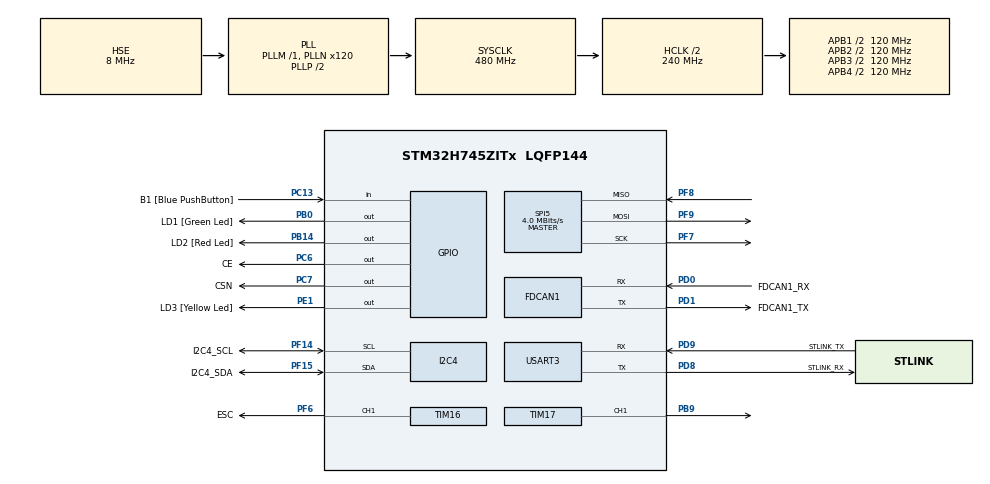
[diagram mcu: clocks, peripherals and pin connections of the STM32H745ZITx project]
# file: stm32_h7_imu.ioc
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CortexM4.IPs=BDMA,CORTEX_M4\:I,DEBUG,DMA,FATFS_M4\:I,FREERTOS_M4\:I,GPIO,IWDG2\:I,MDMA,NVIC2\:I,OPENAMP_M4\:I,PDM2PCM_M4\:I,PWR,RCC,RESMGR_UTILITY,SYS_M4\:I,USB_DEVICE_M4\:I,USB_HOST_M4\:I,VREFBUF,WWDG2\:I,USART3
CortexM4.Pins=PE1
CortexM7.IPs=BDMA\:I,CORTEX_M7\:I,DEBUG\:I,DMA\:I,FATFS_M7\:I,FREERTOS_M7\:I,GPIO\:I,IWDG1\:I,MDMA\:I,NVIC1\:I,OPENAMP_M7\:I,PDM2PCM_M7\:I,PWR\:I,RCC\:I,RESMGR_UTILITY\:I,SYS\:I,USB_DEVICE_M7\:I,USB_HOST_M7\:I,VREFBUF\:I,WWDG1\:I,USART3\:I,I2C4\:I,SPI5\:I,FDCAN1\:I,TIM16\:I,TIM17\:I
CortexM7.Pins=PC13,PB0,PB14,PC6,PC7
FDCAN1.CalculateBaudRateNominal=500000
FDCAN1.CalculateTimeBitNominal=2000
FDCAN1.CalculateTimeQuantumNominal=50.0
FDCAN1.NominalPrescaler=2
FDCAN1.NominalSyncJumpWidth=8
FDCAN1.NominalTimeSeg1=0x1F
FDCAN1.NominalTimeSeg2=8
FDCAN1.ProtocolException=ENABLE
FDCAN1.RxFifo0ElmtsNbr=1
FDCAN1.StdFiltersNbr=1
FDCAN1.TxFifoQueueElmtsNbr=1
I2C4.Timing=0x00404C74
Mcu.Family=STM32H7
Mcu.Name=STM32H745ZITx
Mcu.Package=LQFP144
NVIC1.PriorityGroup=NVIC_PRIORITYGROUP_4
NVIC2.PriorityGroup=NVIC_PRIORITYGROUP_4
PA13\ (JTMS/SWDIO).Mode=Serial_Wire
PA13\ (JTMS/SWDIO).PinAttribute=CortexM7
PA13\ (JTMS/SWDIO).Signal=DEBUG_JTMS-SWDIO
PA14\ (JTCK/SWCLK).Mode=Serial_Wire
PA14\ (JTCK/SWCLK).PinAttribute=CortexM7
PA14\ (JTCK/SWCLK).Signal=DEBUG_JTCK-SWCLK
PB0.GPIO_Label=LD1 [Green Led]
PB0.PinAttribute=CortexM7
PB0.Signal=GPIO_Output
PB14.GPIO_Label=LD2 [Red Led]
PB14.PinAttribute=CortexM7
PB14.Signal=GPIO_Output
PB9.PinAttribute=CortexM7
PB9.Signal=S_TIM17_CH1
PC13.GPIO_Label=B1 [Blue PushButton]
PC13.PinAttribute=CortexM7
PC13.Signal=GPIO_Input
PC14-OSC32_IN\ (OSC32_IN).Mode=LSE-External-Oscillator
PC14-OSC32_IN\ (OSC32_IN).PinAttribute=CortexM7
PC14-OSC32_IN\ (OSC32_IN).Signal=RCC_OSC32_IN
PC15-OSC32_OUT\ (OSC32_OUT).Mode=LSE-External-Oscillator
PC15-OSC32_OUT\ (OSC32_OUT).PinAttribute=CortexM7
PC15-OSC32_OUT\ (OSC32_OUT).Signal=RCC_OSC32_OUT
PC6.GPIO_Label=CE
PC6.PinAttribute=CortexM7
PC6.Signal=GPIO_Output
PC7.GPIO_Label=CSN
PC7.PinAttribute=CortexM7
PC7.Signal=GPIO_Output
PD0.GPIO_Label=FDCAN1_RX
PD0.GPIO_Speed=GPIO_SPEED_FREQ_VERY_HIGH
PD0.Mode=FDCAN_Activate
PD0.PinAttribute=CortexM7
PD0.Signal=FDCAN1_RX
PD1.GPIO_Label=FDCAN1_TX
PD1.GPIO_Mode=GPIO_MODE_AF_PP
PD1.GPIO_PuPd=GPIO_PULLUP
PD1.GPIO_Speed=GPIO_SPEED_FREQ_VERY_HIGH
PD1.Mode=FDCAN_Activate
PD1.PinAttribute=CortexM7
PD1.Signal=FDCAN1_TX
PD8.GPIO_Label=STLINK_RX
PD8.Mode=Asynchronous
PD8.PinAttribute=CortexM7
PD8.Signal=USART3_TX
PD9.GPIO_Label=STLINK_TX
PD9.Mode=Asynchronous
PD9.PinAttribute=CortexM7
PD9.Signal=USART3_RX
PE1.GPIO_Label=LD3 [Yellow Led]
PE1.PinAttribute=CortexM4
PE1.Signal=GPIO_Output
PF14.GPIO_Label=I2C4_SCL
PF14.Mode=I2C
PF14.PinAttribute=CortexM7
PF14.Signal=I2C4_SCL
PF15.GPIO_Label=I2C4_SDA
PF15.Mode=I2C
PF15.PinAttribute=CortexM7
PF15.Signal=I2C4_SDA
PF6.GPIO_Label=ESC
PF6.PinAttribute=CortexM7
PF6.Signal=S_TIM16_CH1
PF7.Mode=Full_Duplex_Master
PF7.PinAttribute=CortexM7
PF7.Signal=SPI5_SCK
PF8.Mode=Full_Duplex_Master
PF8.PinAttribute=CortexM7
PF8.Signal=SPI5_MISO
PF9.Mode=Full_Duplex_Master
PF9.PinAttribute=CortexM7
PF9.Signal=SPI5_MOSI
PH0-OSC_IN\ (PH0).Mode=HSE-External-Clock-Source
PH0-OSC_IN\ (PH0).PinAttribute=CortexM7
PH0-OSC_IN\ (PH0).Signal=RCC_OSC_IN
ProjectManager.HeapSize=M4-0x200,M7-0x200
ProjectManager.StackSize=M4-0x400,M7-0x400
ProjectManager.TargetToolchain=STM32CubeIDE
RCC.ADCFreq_Value=80000000
RCC.APB1Freq_Value=120000000
RCC.APB2Freq_Value=120000000
RCC.APB3Freq_Value=120000000
RCC.APB4Freq_Value=120000000
RCC.CortexFreq_Value=480000000
RCC.D1PPRE=RCC_APB3_DIV2
RCC.D2PPRE1=RCC_APB1_DIV2
RCC.D2PPRE2=RCC_APB2_DIV2
RCC.D3PPRE=RCC_APB4_DIV2
RCC.DIVM1=1
RCC.DIVM2=4
RCC.DIVM3=4
RCC.DIVN1=120
RCC.DIVN2=80
RCC.DIVN3=120
RCC.DIVQ2=4
RCC.DIVR3=12
RCC.FDCANCLockSelection=RCC_FDCANCLKSOURCE_PLL2
RCC.HCLKFreq_Value=240000000
RCC.HPRE=RCC_HCLK_DIV2
RCC.HSE_VALUE=8000000
RCC.I2C4CLockSelection=RCC_I2C4CLKSOURCE_PLL3
RCC.PLLSourceVirtual=RCC_PLLSOURCE_HSE
RCC.SYSCLKFreq_VALUE=480000000
RCC.SYSCLKSource=RCC_SYSCLKSOURCE_PLLCLK
RCC.Spi45ClockSelection=RCC_SPI45CLKSOURCE_HSI
RCC.USBFreq_Value=480000000
SH.S_TIM16_CH1.0=TIM16_CH1,PWM Generation1 CH1
SH.S_TIM17_CH1.0=TIM17_CH1,PWM Generation1 CH1
SPI5.BaudRatePrescaler=SPI_BAUDRATEPRESCALER_16
SPI5.CalculateBaudRate=4.0 MBits/s
SPI5.DataSize=SPI_DATASIZE_8BIT
SPI5.Direction=SPI_DIRECTION_2LINES
SPI5.Mode=SPI_MODE_MASTER
SPI5.VirtualType=VM_MASTER
SYS.userName=SYS_M7
TIM16.Channel=TIM_CHANNEL_1
TIM16.Period=19999
TIM16.Prescaler=239
TIM16.Pulse=1500
TIM17.Channel=TIM_CHANNEL_1
TIM17.Period=63999
TIM17.Prescaler=74
USART3.VirtualMode-Asynchronous=VM_ASYNC
VP_SYS_M4_VS_Systick.Mode=SysTick
VP_TIM16_VS_ClockSourceINT.Mode=Enable_Timer
VP_TIM17_VS_ClockSourceINT.Mode=Enable_Timer
board=custom

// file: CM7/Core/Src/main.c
/* USER CODE BEGIN Header */
/**
  ******************************************************************************
  * @file           : main.c
  * @brief          : Main program body
  ******************************************************************************
  * @attention
  *
  * Copyright (c) 2024 STMicroelectronics.
  * All rights reserved.
  *
  * This software is licensed under terms that can be found in the LICENSE file
  * in the root directory of this software component.
  * If no LICENSE file comes with this software, it is provided AS-IS.
  *
  ******************************************************************************
  */
/* USER CODE END Header */
#include "main.h"

/* USER CODE BEGIN Includes */
#include <stdbool.h>
#include "myprintf.h"
#include "MY_NRF24.h"
#include "mpu6050.h"
#include <stdio.h>
/* USER CODE END Includes */

/* USER CODE BEGIN PD */
#ifndef HSEM_ID_0
#define HSEM_ID_0 (0U) /* HW semaphore 0*/
#endif
/* USER CODE END PD */

FDCAN_HandleTypeDef hfdcan1;
I2C_HandleTypeDef hi2c4;
SPI_HandleTypeDef hspi5;
TIM_HandleTypeDef htim16;
TIM_HandleTypeDef htim17;
UART_HandleTypeDef huart3;

/* USER CODE BEGIN PV */
FDCAN_FilterTypeDef sFilterConfig;
FDCAN_TxHeaderTypeDef TxHeader;
FDCAN_RxHeaderTypeDef RxHeader;
//uint8_t TxData[8] = {0x10, 0x34, 0x54, 0x76, 0x98, 0x00, 0x11, 0x22};
uint8_t RxData[8];
uint16_t coordY;
uint16_t coordX;
uint8_t Vuel = 0;
float vueltas = 0.0f;
bool direccion = false;

/* USER CODE END PV */

/*Variable definitions for NRF*/
uint64_t RxpipeAddrs = 0x11223344AALL;
char myRxData[50];
uint8_t buffer[6];
char myAckPayload[32] = "Ack by STMF7!";

void SystemClock_Config(void);
static void MX_GPIO_Init(void);
static void MX_USART3_UART_Init(void);
static void MX_I2C4_Init(void);
static void MX_SPI5_Init(void);
static void MX_FDCAN1_Init(void);
static void MX_TIM16_Init(void);
static void MX_TIM17_Init(void);
static void Turning_SetAngle(float);
static void readNRF(void);
static void moveForward(void);
static void turnTractor(void);
static void ProcessCANMessage(void);
static void SendCANMessage(uint8_t state);

/* USER CODE BEGIN 0 */
void readNRF(void) {
	if(NRF24_available()) {
		NRF24_read(buffer, 6);
	    if(buffer[0] == 0xFF && buffer[1] == 0xFF) {
	    	snprintf(myRxData, 32, "Coordinates not found\r\n");
	    }
	    else {
	    	snprintf(myRxData, 32, "%u %u %u \r\n", (buffer[0]<<8|buffer[1]), (buffer[2]<<8|buffer[3]), (buffer[4]<<8|buffer[5]));

	    	coordY = (buffer[2]<<8|buffer[3]);
	    	coordX = (buffer[0]<<8|buffer[1]);
	    }
	    NRF24_writeAckPayload(1, myAckPayload, 32);
	    HAL_UART_Transmit(&huart3, (uint8_t *)myRxData, strlen(myRxData), 10);
	}
}

void moveForward( void ){
    __HAL_TIM_SET_COMPARE(&htim16, TIM_CHANNEL_1, 1750);
    HAL_Delay(100); // Pausa tras el movimiento
    __HAL_TIM_SET_COMPARE(&htim16, TIM_CHANNEL_1, 1500);
    HAL_Delay(100);
    readNRF();
}

void turnTractor( void ){
    __HAL_TIM_SET_COMPARE(&htim16, TIM_CHANNEL_1, 2000);
    HAL_Delay(200); // Pausa tras el movimiento
    __HAL_TIM_SET_COMPARE(&htim16, TIM_CHANNEL_1, 1500);
    HAL_Delay(200);
    readNRF();
}

/**
 * @brief Procesa los mensajes recibidos por el protocolo CAN
 */
void ProcessCANMessage() {
    if (HAL_FDCAN_GetRxMessage(&hfdcan1, FDCAN_RX_FIFO0, &RxHeader, RxData) == HAL_OK) {
        printf("\n\rSTM32 - Mensaje CAN recibido:\n\r");
        printf("ID: 0x%lx, Longitud: %ld bytes\n\r", RxHeader.Identifier, RxHeader.DataLength >> 16);
        printf("Datos: ");

        if (RxHeader.Identifier == 0x100) {
            printf("\n\rMensaje recibido de Arduino: ");
        }
        for (uint8_t i = 0; i < 8; i++) {
            printf("%02X ", RxData[i]);
        }

        // Interpretar las vueltas como un float
		union {
			float valueFloat;
			uint8_t valueInt[4];
		} conversion;

		conversion.valueInt[0] = RxData[0];
		conversion.valueInt[1] = RxData[1];
		conversion.valueInt[2] = RxData[2];
		conversion.valueInt[3] = RxData[3];

		vueltas = conversion.valueFloat;

        printf("\n\rSTM32 - Mensaje recibido correctamente.\n\r");

        HAL_GPIO_TogglePin(LD1_GPIO_Port, LD1_Pin); // Indicar recepción
        printf("Vueltas: %.4f\n\r", vueltas);
    } else {
        //printf("Esperando mensajes CAN...\n\r");
    }
}

/* USER CODE END 0 */

int main(void)
{
/* USER CODE BEGIN Boot_Mode_Sequence_0 */
  int32_t timeout;
/* USER CODE END Boot_Mode_Sequence_0 */

/* USER CODE BEGIN Boot_Mode_Sequence_1 */
  /* Wait until CPU2 boots and enters in stop mode or timeout*/
  timeout = 0xFFFF;
  while((__HAL_RCC_GET_FLAG(RCC_FLAG_D2CKRDY) != RESET) && (timeout-- > 0));
  if ( timeout < 0 )
  {
  Error_Handler();
  }
/* USER CODE END Boot_Mode_Sequence_1 */
  /* MCU Configuration--------------------------------------------------------*/

  /* Reset of all peripherals, Initializes the Flash interface and the Systick. */
  HAL_Init();

  /* Configure the system clock */
  SystemClock_Config();
	/* USER CODE BEGIN Boot_Mode_Sequence_2 */
	/* When system initialization is finished, Cortex-M7 will release Cortex-M4 by means of
	HSEM notification */
	/*HW semaphore Clock enable*/
	__HAL_RCC_HSEM_CLK_ENABLE();
	/*Take HSEM */
	HAL_HSEM_FastTake(HSEM_ID_0);
	/*Release HSEM in order to notify the CPU2(CM4)*/
	HAL_HSEM_Release(HSEM_ID_0,0);
	/* wait until CPU2 wakes up from stop mode */
	timeout = 0xFFFF;
	while((__HAL_RCC_GET_FLAG(RCC_FLAG_D2CKRDY) == RESET) && (timeout-- > 0));
	if ( timeout < 0 )
	{
	Error_Handler();
	}
/* USER CODE END Boot_Mode_Sequence_2 */

	  /* Initialize all configured peripherals */
	  MX_GPIO_Init();
	  MX_USART3_UART_Init();
	  MX_I2C4_Init();
	  MX_SPI5_Init();
	  MX_FDCAN1_Init();
	  MX_TIM16_Init();
	  MX_TIM17_Init();
	  /* USER CODE BEGIN 2 */

		NRF24_begin(GPIOC, CSN_Pin, CE_Pin, hspi5);
		nrf24_DebugUART_Init(huart3);

		NRF24_openReadingPipe(1, RxpipeAddrs);
		NRF24_setAutoAck(false);
		NRF24_setChannel(52);
		NRF24_setPayloadSize(32);
		NRF24_setDataRate(RF24_2MBPS);

		NRF24_enableDynamicPayloads();
		NRF24_enableAckPayload();
		printRadioSettings();
		NRF24_startListening();
		printf("Starting NRF24\r\n");
		HAL_Delay(1000);

	  /* USER CODE END 2 */

	  /* Infinite loop */
	  /* USER CODE BEGIN WHILE */

	  /* Configuración inicial del motor */
	  HAL_TIM_PWM_Start(&htim17, TIM_CHANNEL_1);
	  HAL_TIM_PWM_Start(&htim16, TIM_CHANNEL_1);

	  __HAL_TIM_SET_COMPARE(&htim16, TIM_CHANNEL_1, 1500);  // Posición inicial
	  Turning_SetAngle(-62);	//Angulo Inicial
	  HAL_Delay(1000);

  	  //readNRF();
  	  int waypoint = 0;
  	  int flagDone = 0;

  	while (1) {

  		ProcessCANMessage();

  	    // Mover a la siguiente posición en función de las coordenadas
  	    if (coordX < 50 && coordY < 50 && waypoint == 0) {
  	        moveForward();  // Mover adelante
  	    }
  	    else if (coordX < 50 && coordY > 50 && waypoint == 0){
  	    	HAL_GPIO_WritePin(GPIOB, GPIO_PIN_14, GPIO_PIN_SET);
  	    	HAL_Delay(500);
  	    	HAL_GPIO_WritePin(GPIOB, GPIO_PIN_14, GPIO_PIN_RESET);
  	    	__HAL_TIM_SET_COMPARE(&htim16, TIM_CHANNEL_1, 1500);
  	    	Turning_SetAngle(5);
  	    	HAL_Delay(1000);
  	    	waypoint = 1;

  	    	__HAL_TIM_SET_COMPARE(&htim16, TIM_CHANNEL_1, 1900);
  	    	HAL_Delay(500);
  	    	readNRF();
  	    }
  	    else if (coordX < 85 && coordY > 65 && waypoint == 1){
  	    	__HAL_TIM_SET_COMPARE(&htim16, TIM_CHANNEL_1, 1900);
  	    	HAL_Delay(1000);
  	        __HAL_TIM_SET_COMPARE(&htim16, TIM_CHANNEL_1, 1500);
  	      	HAL_Delay(500);
  	    	readNRF();
  	    }
  	    else if(coordX > 85 && coordY > 65 && waypoint == 1){
  	    	HAL_GPIO_WritePin(GPIOB, GPIO_PIN_14, GPIO_PIN_SET);
  	    	HAL_Delay(500);
  	    	HAL_GPIO_WritePin(GPIOB, GPIO_PIN_14, GPIO_PIN_RESET);
  	    	__HAL_TIM_SET_COMPARE(&htim16, TIM_CHANNEL_1, 1500);
  	    	Turning_SetAngle(-62);
  	    	HAL_Delay(1000);
  	    	waypoint = 2;
  	    }
  	    else {
  	    	if (coordY > 50){
  	    		moveForward();
  	    	}
  	    	else{
  	    		if (!flagDone){
  	  	  	    	HAL_GPIO_WritePin(GPIOB, GPIO_PIN_14, GPIO_PIN_SET);
  	  	  	    	HAL_Delay(500);
  	  	  	    	HAL_GPIO_WritePin(GPIOB, GPIO_PIN_14, GPIO_PIN_RESET);
  	  	  	    	__HAL_TIM_SET_COMPARE(&htim16, TIM_CHANNEL_1, 1500);
  	  	  	    	flagDone = true;
  	    		}
  	    		else{
  	    			__HAL_TIM_SET_COMPARE(&htim16, TIM_CHANNEL_1, 1500);
  	    		}
  	    	}
  	    }

  	    /*
  	    else if (coordY > 20 && waypoint == 2) {
  	    	moveForward();
  	    }
  	    else{
  	    	__HAL_TIM_SET_COMPARE(&htim16, TIM_CHANNEL_1, 1500);
  	    	HAL_Delay(1000);
  	    	waypoint = 3;
  	    }
  	    */
  	    /*
  	    else if (waypoint == 0) {
  	        __HAL_TIM_SET_COMPARE(&htim16, TIM_CHANNEL_1, 1500);  // Detener el movimiento
  	        HAL_Delay(2000);  // Pausa tras el movimiento
  	        Turning_SetAngle(0);  // Ajustar ángulo
  	        waypoint = 1;  // Cambiar waypoint
  	    }
  	    else if (coordY > 50 && waypoint == 1) {
  	        turnTractor();  // Girar el tractor
  	        waypoint = 2;  // Cambiar waypoint
  	    }
  	    else if (coordY > 30 && waypoint == 2) {
  	        moveForward();  // Continuar hacia adelante
  	    }
  	    else {
  	        __HAL_TIM_SET_COMPARE(&htim16, TIM_CHANNEL_1, 1500);  // Detener el movimiento
  	        HAL_Delay(2000);  // Pausa tras el movimiento
  	    }
  	    */
  	}

    /* USER CODE END WHILE */
	//  }
}

void SystemClock_Config(void)
{
  RCC_OscInitTypeDef RCC_OscInitStruct = {0};
  RCC_ClkInitTypeDef RCC_ClkInitStruct = {0};

  /** Supply configuration update enable
  */
  HAL_PWREx_ConfigSupply(PWR_DIRECT_SMPS_SUPPLY);

  /** Configure the main internal regulator output voltage
  */
  __HAL_PWR_VOLTAGESCALING_CONFIG(PWR_REGULATOR_VOLTAGE_SCALE0);

  while(!__HAL_PWR_GET_FLAG(PWR_FLAG_VOSRDY)) {}

  /** Macro to configure the PLL clock source
  */
  __HAL_RCC_PLL_PLLSOURCE_CONFIG(RCC_PLLSOURCE_HSE);

  /** Initializes the RCC Oscillators according to the specified parameters
  * in the RCC_OscInitTypeDef structure.
  */
  RCC_OscInitStruct.OscillatorType = RCC_OSCILLATORTYPE_HSI|RCC_OSCILLATORTYPE_HSE;
  RCC_OscInitStruct.HSEState = RCC_HSE_BYPASS;
  RCC_OscInitStruct.HSIState = RCC_HSI_DIV1;
  RCC_OscInitStruct.HSICalibrationValue = RCC_HSICALIBRATION_DEFAULT;
  RCC_OscInitStruct.PLL.PLLState = RCC_PLL_ON;
  RCC_OscInitStruct.PLL.PLLSource = RCC_PLLSOURCE_HSE;
  RCC_OscInitStruct.PLL.PLLM = 1;
  RCC_OscInitStruct.PLL.PLLN = 120;
  RCC_OscInitStruct.PLL.PLLP = 2;
  RCC_OscInitStruct.PLL.PLLQ = 2;
  RCC_OscInitStruct.PLL.PLLR = 2;
  RCC_OscInitStruct.PLL.PLLRGE = RCC_PLL1VCIRANGE_3;
  RCC_OscInitStruct.PLL.PLLVCOSEL = RCC_PLL1VCOWIDE;
  RCC_OscInitStruct.PLL.PLLFRACN = 0;
  if (HAL_RCC_OscConfig(&RCC_OscInitStruct) != HAL_OK)
  {
    Error_Handler();
  }

  /** Initializes the CPU, AHB and APB buses clocks
  */
  RCC_ClkInitStruct.ClockType = RCC_CLOCKTYPE_HCLK|RCC_CLOCKTYPE_SYSCLK
                              |RCC_CLOCKTYPE_PCLK1|RCC_CLOCKTYPE_PCLK2
                              |RCC_CLOCKTYPE_D3PCLK1|RCC_CLOCKTYPE_D1PCLK1;
  RCC_ClkInitStruct.SYSCLKSource = RCC_SYSCLKSOURCE_PLLCLK;
  RCC_ClkInitStruct.SYSCLKDivider = RCC_SYSCLK_DIV1;
  RCC_ClkInitStruct.AHBCLKDivider = RCC_HCLK_DIV2;
  RCC_ClkInitStruct.APB3CLKDivider = RCC_APB3_DIV2;
  RCC_ClkInitStruct.APB1CLKDivider = RCC_APB1_DIV2;
  RCC_ClkInitStruct.APB2CLKDivider = RCC_APB2_DIV2;
  RCC_ClkInitStruct.APB4CLKDivider = RCC_APB4_DIV2;

  if (HAL_RCC_ClockConfig(&RCC_ClkInitStruct, FLASH_LATENCY_4) != HAL_OK)
  {
    Error_Handler();
  }
}

static void MX_FDCAN1_Init(void)
{

  hfdcan1.Instance = FDCAN1;
  hfdcan1.Init.FrameFormat = FDCAN_FRAME_CLASSIC;
  hfdcan1.Init.Mode = FDCAN_MODE_NORMAL;
  hfdcan1.Init.AutoRetransmission = DISABLE;
  hfdcan1.Init.TransmitPause = DISABLE;
  hfdcan1.Init.ProtocolException = ENABLE;
  hfdcan1.Init.NominalPrescaler = 2;
  hfdcan1.Init.NominalSyncJumpWidth = 8;
  hfdcan1.Init.NominalTimeSeg1 = 0x1F;
  hfdcan1.Init.NominalTimeSeg2 = 8;
  hfdcan1.Init.DataPrescaler = 1;
  hfdcan1.Init.DataSyncJumpWidth = 1;
  hfdcan1.Init.DataTimeSeg1 = 1;
  hfdcan1.Init.DataTimeSeg2 = 1;
  hfdcan1.Init.MessageRAMOffset = 0;
  hfdcan1.Init.StdFiltersNbr = 1;
  hfdcan1.Init.ExtFiltersNbr = 0;
  hfdcan1.Init.RxFifo0ElmtsNbr = 1;
  hfdcan1.Init.RxFifo0ElmtSize = FDCAN_DATA_BYTES_8;
  hfdcan1.Init.RxFifo1ElmtsNbr = 0;
  hfdcan1.Init.RxFifo1ElmtSize = FDCAN_DATA_BYTES_8;
  hfdcan1.Init.RxBuffersNbr = 0;
  hfdcan1.Init.RxBufferSize = FDCAN_DATA_BYTES_8;
  hfdcan1.Init.TxEventsNbr = 0;
  hfdcan1.Init.TxBuffersNbr = 0;
  hfdcan1.Init.TxFifoQueueElmtsNbr = 1;
  hfdcan1.Init.TxFifoQueueMode = FDCAN_TX_FIFO_OPERATION;
  hfdcan1.Init.TxElmtSize = FDCAN_DATA_BYTES_8;
  if (HAL_FDCAN_Init(&hfdcan1) != HAL_OK)
  {
    Error_Handler();
  }
  /* USER CODE BEGIN FDCAN1_Init 2 */
  /*AAO+*/
      /* Configure Rx filter */
       sFilterConfig.IdType = FDCAN_STANDARD_ID;
       sFilterConfig.FilterIndex = 0;
       sFilterConfig.FilterType = FDCAN_FILTER_MASK;
       sFilterConfig.FilterConfig = FDCAN_FILTER_TO_RXFIFO0;
       sFilterConfig.FilterID1 = 0x000;
       sFilterConfig.FilterID2 = 0x000;

       /* Configure global filter to reject all non-matching frames */
       HAL_FDCAN_ConfigGlobalFilter(&hfdcan1, FDCAN_REJECT, FDCAN_REJECT, FDCAN_REJECT_REMOTE, FDCAN_REJECT_REMOTE);

       if (HAL_FDCAN_ConfigFilter(&hfdcan1, &sFilterConfig) != HAL_OK)
         {
            /* Filter configuration Error */
            Error_Handler();
         }
        /* Start the FDCAN module */
       if (HAL_FDCAN_Start(&hfdcan1) != HAL_OK) {
         }
            /* Start Error */
       if (HAL_FDCAN_ActivateNotification(&hfdcan1, FDCAN_IT_RX_FIFO0_NEW_MESSAGE, 0) != HAL_OK) {
         }
            /* Notification Error */

        /* Configure Tx buffer message */
       TxHeader.Identifier = 0x111;
       TxHeader.IdType = FDCAN_STANDARD_ID;
       TxHeader.TxFrameType = FDCAN_DATA_FRAME;
       TxHeader.DataLength = FDCAN_DLC_BYTES_12;
       TxHeader.ErrorStateIndicator = FDCAN_ESI_ACTIVE;
       TxHeader.BitRateSwitch = FDCAN_BRS_ON;
       TxHeader.FDFormat = FDCAN_FD_CAN;
       TxHeader.TxEventFifoControl = FDCAN_NO_TX_EVENTS;
       TxHeader.MessageMarker = 0x00;
      /*AAO-*/
  /* USER CODE END FDCAN1_Init 2 */

}

static void MX_I2C4_Init(void)
{

  hi2c4.Instance = I2C4;
  hi2c4.Init.Timing = 0x00404C74;
  hi2c4.Init.OwnAddress1 = 0;
  hi2c4.Init.AddressingMode = I2C_ADDRESSINGMODE_7BIT;
  hi2c4.Init.DualAddressMode = I2C_DUALADDRESS_DISABLE;
  hi2c4.Init.OwnAddress2 = 0;
  hi2c4.Init.OwnAddress2Masks = I2C_OA2_NOMASK;
  hi2c4.Init.GeneralCallMode = I2C_GENERALCALL_DISABLE;
  hi2c4.Init.NoStretchMode = I2C_NOSTRETCH_DISABLE;
  if (HAL_I2C_Init(&hi2c4) != HAL_OK)
  {
    Error_Handler();
  }

  /** Configure Analogue filter
  */
  if (HAL_I2CEx_ConfigAnalogFilter(&hi2c4, I2C_ANALOGFILTER_ENABLE) != HAL_OK)
  {
    Error_Handler();
  }

  /** Configure Digital filter
  */
  if (HAL_I2CEx_ConfigDigitalFilter(&hi2c4, 0) != HAL_OK)
  {
    Error_Handler();
  }

}

static void MX_SPI5_Init(void)
{

  /* SPI5 parameter configuration*/
  hspi5.Instance = SPI5;
  hspi5.Init.Mode = SPI_MODE_MASTER;
  hspi5.Init.Direction = SPI_DIRECTION_2LINES;
  hspi5.Init.DataSize = SPI_DATASIZE_8BIT;
  hspi5.Init.CLKPolarity = SPI_POLARITY_LOW;
  hspi5.Init.CLKPhase = SPI_PHASE_1EDGE;
  hspi5.Init.NSS = SPI_NSS_SOFT;
  hspi5.Init.BaudRatePrescaler = SPI_BAUDRATEPRESCALER_16;
  hspi5.Init.FirstBit = SPI_FIRSTBIT_MSB;
  hspi5.Init.TIMode = SPI_TIMODE_DISABLE;
  hspi5.Init.CRCCalculation = SPI_CRCCALCULATION_DISABLE;
  hspi5.Init.CRCPolynomial = 0x0;
  hspi5.Init.NSSPMode = SPI_NSS_PULSE_ENABLE;
  hspi5.Init.NSSPolarity = SPI_NSS_POLARITY_LOW;
  hspi5.Init.FifoThreshold = SPI_FIFO_THRESHOLD_01DATA;
  hspi5.Init.TxCRCInitializationPattern = SPI_CRC_INITIALIZATION_ALL_ZERO_PATTERN;
  hspi5.Init.RxCRCInitializationPattern = SPI_CRC_INITIALIZATION_ALL_ZERO_PATTERN;
  hspi5.Init.MasterSSIdleness = SPI_MASTER_SS_IDLENESS_00CYCLE;
  hspi5.Init.MasterInterDataIdleness = SPI_MASTER_INTERDATA_IDLENESS_00CYCLE;
  hspi5.Init.MasterReceiverAutoSusp = SPI_MASTER_RX_AUTOSUSP_DISABLE;
  hspi5.Init.MasterKeepIOState = SPI_MASTER_KEEP_IO_STATE_DISABLE;
  hspi5.Init.IOSwap = SPI_IO_SWAP_DISABLE;
  if (HAL_SPI_Init(&hspi5) != HAL_OK)
  {
    Error_Handler();
  }

}

static void MX_TIM16_Init(void)
{

  TIM_OC_InitTypeDef sConfigOC = {0};
  TIM_BreakDeadTimeConfigTypeDef sBreakDeadTimeConfig = {0};

  htim16.Instance = TIM16;
  htim16.Init.Prescaler = 239;
  htim16.Init.CounterMode = TIM_COUNTERMODE_UP;
  htim16.Init.Period = 19999;
  htim16.Init.ClockDivision = TIM_CLOCKDIVISION_DIV1;
  htim16.Init.RepetitionCounter = 0;
  htim16.Init.AutoReloadPreload = TIM_AUTORELOAD_PRELOAD_DISABLE;
  if (HAL_TIM_Base_Init(&htim16) != HAL_OK)
  {
    Error_Handler();
  }
  if (HAL_TIM_PWM_Init(&htim16) != HAL_OK)
  {
    Error_Handler();
  }
  sConfigOC.OCMode = TIM_OCMODE_PWM1;
  sConfigOC.Pulse = 1500;
  sConfigOC.OCPolarity = TIM_OCPOLARITY_HIGH;
  sConfigOC.OCNPolarity = TIM_OCNPOLARITY_HIGH;
  sConfigOC.OCFastMode = TIM_OCFAST_DISABLE;
  sConfigOC.OCIdleState = TIM_OCIDLESTATE_RESET;
  sConfigOC.OCNIdleState = TIM_OCNIDLESTATE_RESET;
  if (HAL_TIM_PWM_ConfigChannel(&htim16, &sConfigOC, TIM_CHANNEL_1) != HAL_OK)
  {
    Error_Handler();
  }
  sBreakDeadTimeConfig.OffStateRunMode = TIM_OSSR_DISABLE;
  sBreakDeadTimeConfig.OffStateIDLEMode = TIM_OSSI_DISABLE;
  sBreakDeadTimeConfig.LockLevel = TIM_LOCKLEVEL_OFF;
  sBreakDeadTimeConfig.DeadTime = 0;
  sBreakDeadTimeConfig.BreakState = TIM_BREAK_DISABLE;
  sBreakDeadTimeConfig.BreakPolarity = TIM_BREAKPOLARITY_HIGH;
  sBreakDeadTimeConfig.BreakFilter = 0;
  sBreakDeadTimeConfig.AutomaticOutput = TIM_AUTOMATICOUTPUT_DISABLE;
  if (HAL_TIMEx_ConfigBreakDeadTime(&htim16, &sBreakDeadTimeConfig) != HAL_OK)
  {
    Error_Handler();
  }
  HAL_TIM_MspPostInit(&htim16);

}

static void MX_TIM17_Init(void)
{

  TIM_OC_InitTypeDef sConfigOC = {0};
  TIM_BreakDeadTimeConfigTypeDef sBreakDeadTimeConfig = {0};

  htim17.Instance = TIM17;
  htim17.Init.Prescaler = 74;
  htim17.Init.CounterMode = TIM_COUNTERMODE_UP;
  htim17.Init.Period = 63999;
  htim17.Init.ClockDivision = TIM_CLOCKDIVISION_DIV1;
  htim17.Init.RepetitionCounter = 0;
  htim17.Init.AutoReloadPreload = TIM_AUTORELOAD_PRELOAD_DISABLE;
  if (HAL_TIM_Base_Init(&htim17) != HAL_OK)
  {
    Error_Handler();
  }
  if (HAL_TIM_PWM_Init(&htim17) != HAL_OK)
  {
    Error_Handler();
  }
  sConfigOC.OCMode = TIM_OCMODE_PWM1;
  sConfigOC.Pulse = 0;
  sConfigOC.OCPolarity = TIM_OCPOLARITY_HIGH;
  sConfigOC.OCNPolarity = TIM_OCNPOLARITY_HIGH;
  sConfigOC.OCFastMode = TIM_OCFAST_DISABLE;
  sConfigOC.OCIdleState = TIM_OCIDLESTATE_RESET;
  sConfigOC.OCNIdleState = TIM_OCNIDLESTATE_RESET;
  if (HAL_TIM_PWM_ConfigChannel(&htim17, &sConfigOC, TIM_CHANNEL_1) != HAL_OK)
  {
    Error_Handler();
  }
  sBreakDeadTimeConfig.OffStateRunMode = TIM_OSSR_DISABLE;
  sBreakDeadTimeConfig.OffStateIDLEMode = TIM_OSSI_DISABLE;
  sBreakDeadTimeConfig.LockLevel = TIM_LOCKLEVEL_OFF;
  sBreakDeadTimeConfig.DeadTime = 0;
  sBreakDeadTimeConfig.BreakState = TIM_BREAK_DISABLE;
  sBreakDeadTimeConfig.BreakPolarity = TIM_BREAKPOLARITY_HIGH;
  sBreakDeadTimeConfig.BreakFilter = 0;
  sBreakDeadTimeConfig.AutomaticOutput = TIM_AUTOMATICOUTPUT_DISABLE;
  if (HAL_TIMEx_ConfigBreakDeadTime(&htim17, &sBreakDeadTimeConfig) != HAL_OK)
  {
    Error_Handler();
  }
  HAL_TIM_MspPostInit(&htim17);

}

static void MX_USART3_UART_Init(void)
{

  huart3.Instance = USART3;
  huart3.Init.BaudRate = 115200;
  huart3.Init.WordLength = UART_WORDLENGTH_8B;
  huart3.Init.StopBits = UART_STOPBITS_1;
  huart3.Init.Parity = UART_PARITY_NONE;
  huart3.Init.Mode = UART_MODE_TX_RX;
  huart3.Init.HwFlowCtl = UART_HWCONTROL_NONE;
  huart3.Init.OverSampling = UART_OVERSAMPLING_16;
  huart3.Init.OneBitSampling = UART_ONE_BIT_SAMPLE_DISABLE;
  huart3.Init.ClockPrescaler = UART_PRESCALER_DIV1;
  huart3.AdvancedInit.AdvFeatureInit = UART_ADVFEATURE_NO_INIT;
  if (HAL_UART_Init(&huart3) != HAL_OK)
  {
    Error_Handler();
  }
  if (HAL_UARTEx_SetTxFifoThreshold(&huart3, UART_TXFIFO_THRESHOLD_1_8) != HAL_OK)
  {
    Error_Handler();
  }
  if (HAL_UARTEx_SetRxFifoThreshold(&huart3, UART_RXFIFO_THRESHOLD_1_8) != HAL_OK)
  {
    Error_Handler();
  }
  if (HAL_UARTEx_DisableFifoMode(&huart3) != HAL_OK)
  {
    Error_Handler();
  }

}

static void MX_GPIO_Init(void)
{
  GPIO_InitTypeDef GPIO_InitStruct = {0};

  /* GPIO Ports Clock Enable */
  __HAL_RCC_GPIOC_CLK_ENABLE();
  __HAL_RCC_GPIOF_CLK_ENABLE();
  __HAL_RCC_GPIOH_CLK_ENABLE();
  __HAL_RCC_GPIOB_CLK_ENABLE();
  __HAL_RCC_GPIOD_CLK_ENABLE();
  __HAL_RCC_GPIOA_CLK_ENABLE();

  /*Configure GPIO pin Output Level */
  HAL_GPIO_WritePin(GPIOB, LD1_Pin|LD2_Pin, GPIO_PIN_RESET);

  /*Configure GPIO pin Output Level */
  HAL_GPIO_WritePin(GPIOC, CE_Pin|CSN_Pin, GPIO_PIN_RESET);

  /*Configure GPIO pin : B1_Pin */
  GPIO_InitStruct.Pin = B1_Pin;
  GPIO_InitStruct.Mode = GPIO_MODE_INPUT;
  GPIO_InitStruct.Pull = GPIO_NOPULL;
  HAL_GPIO_Init(B1_GPIO_Port, &GPIO_InitStruct);

  /*Configure GPIO pins : LD1_Pin LD2_Pin */
  GPIO_InitStruct.Pin = LD1_Pin|LD2_Pin;
  GPIO_InitStruct.Mode = GPIO_MODE_OUTPUT_PP;
  GPIO_InitStruct.Pull = GPIO_NOPULL;
  GPIO_InitStruct.Speed = GPIO_SPEED_FREQ_LOW;
  HAL_GPIO_Init(GPIOB, &GPIO_InitStruct);

  /*Configure GPIO pins : CE_Pin CSN_Pin */
  GPIO_InitStruct.Pin = CE_Pin|CSN_Pin;
  GPIO_InitStruct.Mode = GPIO_MODE_OUTPUT_PP;
  GPIO_InitStruct.Pull = GPIO_NOPULL;
  GPIO_InitStruct.Speed = GPIO_SPEED_FREQ_LOW;
  HAL_GPIO_Init(GPIOC, &GPIO_InitStruct);

}

/* USER CODE BEGIN 4 */
static void Turning_SetAngle(float angle){
	//ARR value
	uint32_t autoreload_register_value = 63999;

	//1. Map angle (-90 to 90 degrees) to pulse width (1 to 2 ms) by calculating:
	float pulseWidth = 1.5 + angle/180;

	//2. Calculate the new value to be writing to the compare register:
	uint32_t value = (pulseWidth / 20.0) * (autoreload_register_value + 1);

	//3. Set the compare value to adjust the PWM duty cycle
	__HAL_TIM_SET_COMPARE(&htim17, TIM_CHANNEL_1, value);

	//4. Start the PWM
	HAL_TIM_PWM_Start(&htim17, TIM_CHANNEL_1);
}

/* USER CODE END 4 */

void Error_Handler(void)
{
  __disable_irq();
  while (1)
  {
  }
}
